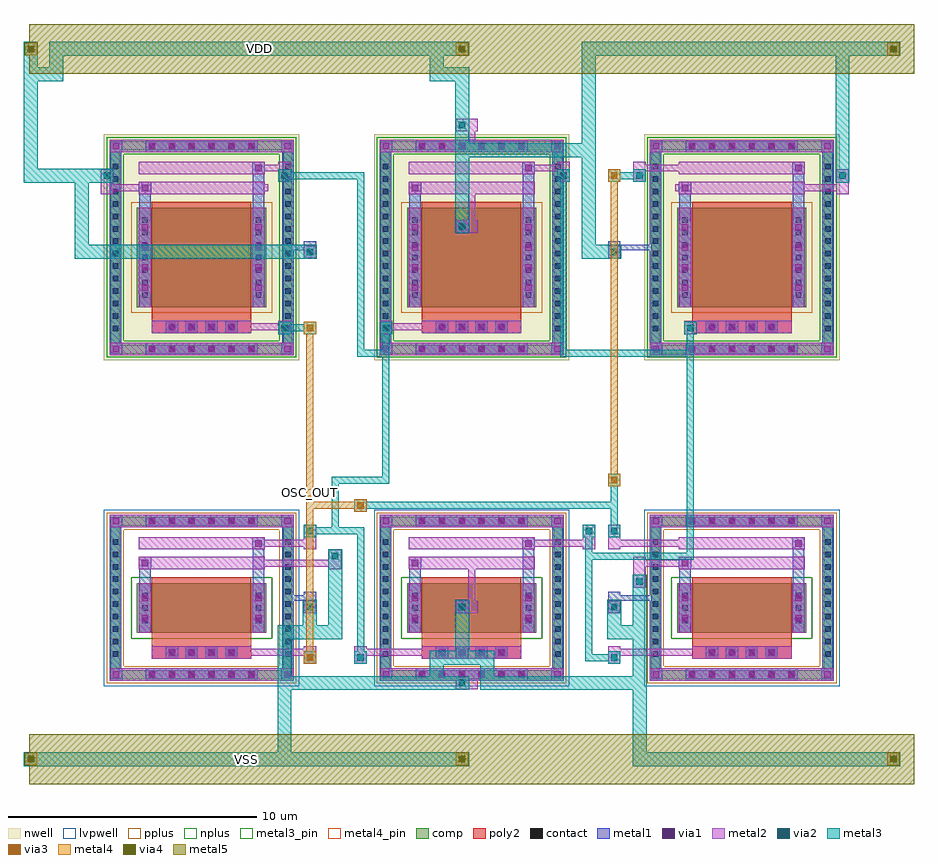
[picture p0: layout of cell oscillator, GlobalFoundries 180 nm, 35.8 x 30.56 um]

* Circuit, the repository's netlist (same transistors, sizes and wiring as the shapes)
.lib "/home/huda/.volare/gf180mcuD/libs.tech/ngspice/sm141064.ngspice" typical
.subckt oscillator VDD VSS OSC_OUT
XM1  n1 OSC_OUT VSS VSS nfet_03v3 L=4u W=2u nf=1
XM1P n1 OSC_OUT VDD VDD pfet_03v3 L=4u W=4u nf=1
XM2  n2 n1 VSS VSS nfet_03v3 L=4u W=2u nf=1
XM2P n2 n1 VDD VDD pfet_03v3 L=4u W=4u nf=1
XM3  OSC_OUT n2 VSS VSS nfet_03v3 L=4u W=2u nf=1
XM3P OSC_OUT n2 VDD VDD pfet_03v3 L=4u W=4u nf=1
.ends

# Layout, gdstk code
import gdstk
lib = gdstk.Library(unit=1e-6, precision=1e-09)
def R(c, l, rs):  # rectangles x0, y0, x1, y1
    for r in rs: c.add(gdstk.rectangle(r[:2], r[2:], *l))
def A(c, l, x, y, w, h, nx, ny, dx, dy):  # array of equal rectangles
    R(c, l, [(x+i*dx, y+j*dy, x+i*dx+w, y+j*dy+h) for i in range(nx) for j in range(ny)])
def P(c, l, *ps):  # polygons
    for p in ps: c.add(gdstk.Polygon(p, *l))
nwell = (21, 0)
comp = (22, 0)
poly2 = (30, 0)
pplus = (31, 0)
nplus = (32, 0)
contact = (33, 0)
metal1 = (34, 0)
via1 = (35, 0)
metal2 = (36, 0)
via2 = (38, 0)
via3 = (40, 0)
via4 = (41, 0)
metal3 = (42, 0)
metal3_pin = (42, 10)
metal4 = (46, 0)
metal4_pin = (46, 10)
metal5 = (81, 0)
lvpwell = (204, 0)

oscillator = lib.new_cell('oscillator')
A(oscillator, nwell, -14.79, 13.09, 7.86, 9.09, 3, 1, 10.86, 0)
A(oscillator, comp, -13.04, 0.28, 0.36, 0.36, 6, 2, 0.8, 6.17)
A(oscillator, comp, -13.04, 0.28, 4.36, 0.36, 3, 2, 10.86, 6.17)
A(oscillator, comp, -2.18, 0.28, 0.36, 0.36, 6, 2, 0.8, 6.17)
A(oscillator, comp, 8.68, 0.28, 0.36, 0.36, 6, 2, 0.8, 6.17)
A(oscillator, comp, -14.51, 1.115, 0.36, 0.36, 1, 10, 0, 0.5)
A(oscillator, comp, -7.57, 1.115, 0.36, 0.36, 1, 10, 0, 0.5)
A(oscillator, comp, -3.65, 1.115, 0.36, 0.36, 1, 10, 0, 0.5)
A(oscillator, comp, 3.29, 1.115, 0.36, 0.36, 1, 10, 0, 0.5)
A(oscillator, comp, 7.21, 1.115, 0.36, 0.36, 1, 10, 0, 0.5)
A(oscillator, comp, 14.15, 1.115, 0.36, 0.36, 1, 10, 0, 0.5)
A(oscillator, comp, -13.46, 2.14, 5.2, 2, 3, 1, 10.86, 0)
A(oscillator, comp, -13.04, 13.37, 0.36, 0.36, 6, 2, 0.8, 8.17)
A(oscillator, comp, -13.04, 13.37, 4.36, 0.36, 3, 2, 10.86, 8.17)
A(oscillator, comp, -2.18, 13.37, 0.36, 0.36, 6, 2, 0.8, 8.17)
A(oscillator, comp, 8.68, 13.37, 0.36, 0.36, 6, 2, 0.8, 8.17)
A(oscillator, comp, -14.51, 14.205, 0.36, 0.36, 1, 14, 0, 0.5)
A(oscillator, comp, -7.57, 14.205, 0.36, 0.36, 1, 14, 0, 0.5)
A(oscillator, comp, -3.65, 14.205, 0.36, 0.36, 1, 14, 0, 0.5)
A(oscillator, comp, 3.29, 14.205, 0.36, 0.36, 1, 14, 0, 0.5)
A(oscillator, comp, 7.21, 14.205, 0.36, 0.36, 1, 14, 0, 0.5)
A(oscillator, comp, 14.15, 14.205, 0.36, 0.36, 1, 14, 0, 0.5)
A(oscillator, comp, -13.46, 15.23, 5.2, 4, 3, 1, 10.86, 0)
R(oscillator, comp, [(-14.51,1.115,-14.15,5.975), (-7.57,1.115,-7.21,5.975), (-3.65,1.115,-3.29,5.975), (3.29,1.115,3.65,5.975), (7.21,1.115,7.57,5.975), (14.15,1.115,14.51,5.975), (-14.51,14.205,-14.15,21.065), (-7.57,14.205,-7.21,21.065), (-3.65,14.205,-3.29,21.065), (3.29,14.205,3.65,21.065), (7.21,14.205,7.57,21.065), (14.15,14.205,14.51,21.065)])
P(oscillator, comp, [(-7.21,6.81),(-14.51,6.81),(-14.51,0.64),(-14.15,0.64),(-14.15,6.45),(-7.57,6.45),(-7.57,0.64),(-14.15,0.64),(-14.51,0.64),(-14.51,0.28),(-7.21,0.28)],
  [(14.51,21.9),(7.21,21.9),(7.21,13.73),(7.57,13.73),(7.57,21.54),(14.15,21.54),(14.15,13.73),(7.57,13.73),(7.21,13.73),(7.21,13.37),(14.51,13.37)],
  [(14.51,6.81),(7.21,6.81),(7.21,0.64),(7.57,0.64),(7.57,6.45),(14.15,6.45),(14.15,0.64),(7.57,0.64),(7.21,0.64),(7.21,0.28),(14.51,0.28)],
  [(3.65,21.9),(-3.65,21.9),(-3.65,13.73),(-3.29,13.73),(-3.29,21.54),(3.29,21.54),(3.29,13.73),(-3.29,13.73),(-3.65,13.73),(-3.65,13.37),(3.65,13.37)],
  [(3.65,6.81),(-3.65,6.81),(-3.65,0.64),(-3.29,0.64),(-3.29,6.45),(3.29,6.45),(3.29,0.64),(-3.29,0.64),(-3.65,0.64),(-3.65,0.28),(3.65,0.28)],
  [(-7.21,21.9),(-14.51,21.9),(-14.51,13.73),(-14.15,13.73),(-14.15,21.54),(-7.57,21.54),(-7.57,13.73),(-14.15,13.73),(-14.51,13.73),(-14.51,13.37),(-7.21,13.37)])
A(oscillator, poly2, -12.86, 1.1, 4, 0.5, 3, 2, 10.86, 13.09)
A(oscillator, poly2, -12.24, 1.17, 0.36, 0.36, 4, 2, 0.8, 13.09)
A(oscillator, poly2, -1.38, 1.17, 0.36, 0.36, 4, 2, 0.8, 13.09)
A(oscillator, poly2, 9.48, 1.17, 0.36, 0.36, 4, 2, 0.8, 13.09)
A(oscillator, poly2, -12.86, 1.6, 4, 0.3, 3, 2, 10.86, 13.09)
A(oscillator, poly2, -12.86, 1.9, 4, 2.48, 3, 1, 10.86, 0)
A(oscillator, poly2, -12.86, 14.99, 4, 4.48, 3, 1, 10.86, 0)
A(oscillator, pplus, -13.69, 15, 5.66, 4.46, 3, 1, 10.86, 0)
P(oscillator, pplus, [(-7.05,6.97),(-14.67,6.97),(-14.67,0.8),(-13.99,0.8),(-13.99,6.29),(-7.73,6.29),(-7.73,0.8),(-13.99,0.8),(-14.67,0.8),(-14.67,0.12),(-7.05,0.12)],
  [(14.67,6.97),(7.05,6.97),(7.05,0.8),(7.73,0.8),(7.73,6.29),(13.99,6.29),(13.99,0.8),(7.73,0.8),(7.05,0.8),(7.05,0.12),(14.67,0.12)],
  [(3.81,6.97),(-3.81,6.97),(-3.81,0.8),(-3.13,0.8),(-3.13,6.29),(3.13,6.29),(3.13,0.8),(-3.13,0.8),(-3.81,0.8),(-3.81,0.12),(3.81,0.12)])
A(oscillator, nplus, -13.69, 1.91, 5.66, 2.46, 3, 1, 10.86, 0)
P(oscillator, nplus, [(14.67,22.06),(7.05,22.06),(7.05,13.89),(7.73,13.89),(7.73,21.38),(13.99,21.38),(13.99,13.89),(7.73,13.89),(7.05,13.89),(7.05,13.21),(14.67,13.21)],
  [(3.81,22.06),(-3.81,22.06),(-3.81,13.89),(-3.13,13.89),(-3.13,21.38),(3.13,21.38),(3.13,13.89),(-3.13,13.89),(-3.81,13.89),(-3.81,13.21),(3.81,13.21)],
  [(-7.05,22.06),(-14.67,22.06),(-14.67,13.89),(-13.99,13.89),(-13.99,21.38),(-7.73,21.38),(-7.73,13.89),(-13.99,13.89),(-14.67,13.89),(-14.67,13.21),(-7.05,13.21)])
A(oscillator, contact, -12.97, 0.35, 0.22, 0.22, 6, 2, 0.8, 6.17)
A(oscillator, contact, -2.11, 0.35, 0.22, 0.22, 6, 2, 0.8, 6.17)
A(oscillator, contact, 8.75, 0.35, 0.22, 0.22, 6, 2, 0.8, 6.17)
A(oscillator, contact, -14.44, 1.185, 0.22, 0.22, 1, 10, 0, 0.5)
A(oscillator, contact, -7.5, 1.185, 0.22, 0.22, 1, 10, 0, 0.5)
A(oscillator, contact, -3.58, 1.185, 0.22, 0.22, 1, 10, 0, 0.5)
A(oscillator, contact, 3.36, 1.185, 0.22, 0.22, 1, 10, 0, 0.5)
A(oscillator, contact, 7.28, 1.185, 0.22, 0.22, 1, 10, 0, 0.5)
A(oscillator, contact, 14.22, 1.185, 0.22, 0.22, 1, 10, 0, 0.5)
A(oscillator, contact, -12.17, 1.24, 0.22, 0.22, 4, 2, 0.8, 13.09)
A(oscillator, contact, -1.31, 1.24, 0.22, 0.22, 4, 2, 0.8, 13.09)
A(oscillator, contact, 9.55, 1.24, 0.22, 0.22, 4, 2, 0.8, 13.09)
A(oscillator, contact, -13.25, 2.53, 0.22, 0.22, 1, 3, 0, 0.5)
A(oscillator, contact, -8.69, 2.53, 0.22, 0.22, 1, 3, 0, 0.5)
A(oscillator, contact, -2.39, 2.53, 0.22, 0.22, 1, 3, 0, 0.5)
A(oscillator, contact, 2.17, 2.53, 0.22, 0.22, 1, 3, 0, 0.5)
A(oscillator, contact, 8.47, 2.53, 0.22, 0.22, 1, 3, 0, 0.5)
A(oscillator, contact, 13.03, 2.53, 0.22, 0.22, 1, 3, 0, 0.5)
A(oscillator, contact, -12.97, 13.44, 0.22, 0.22, 6, 2, 0.8, 8.17)
A(oscillator, contact, -2.11, 13.44, 0.22, 0.22, 6, 2, 0.8, 8.17)
A(oscillator, contact, 8.75, 13.44, 0.22, 0.22, 6, 2, 0.8, 8.17)
A(oscillator, contact, -14.44, 14.275, 0.22, 0.22, 1, 14, 0, 0.5)
A(oscillator, contact, -7.5, 14.275, 0.22, 0.22, 1, 14, 0, 0.5)
A(oscillator, contact, -3.58, 14.275, 0.22, 0.22, 1, 14, 0, 0.5)
A(oscillator, contact, 3.36, 14.275, 0.22, 0.22, 1, 14, 0, 0.5)
A(oscillator, contact, 7.28, 14.275, 0.22, 0.22, 1, 14, 0, 0.5)
A(oscillator, contact, 14.22, 14.275, 0.22, 0.22, 1, 14, 0, 0.5)
A(oscillator, contact, -13.25, 15.62, 0.22, 0.22, 1, 7, 0, 0.5)
A(oscillator, contact, -8.69, 15.62, 0.22, 0.22, 1, 7, 0, 0.5)
A(oscillator, contact, -2.39, 15.62, 0.22, 0.22, 1, 7, 0, 0.5)
A(oscillator, contact, 2.17, 15.62, 0.22, 0.22, 1, 7, 0, 0.5)
A(oscillator, contact, 8.47, 15.62, 0.22, 0.22, 1, 7, 0, 0.5)
A(oscillator, contact, 13.03, 15.62, 0.22, 0.22, 1, 7, 0, 0.5)
A(oscillator, metal1, -13.11, 0.21, 0.5, 0.5, 6, 2, 0.8, 6.17)
A(oscillator, metal1, -13.11, 0.21, 4.5, 0.5, 3, 2, 10.86, 6.17)
A(oscillator, metal1, -2.25, 0.21, 0.5, 0.5, 6, 2, 0.8, 6.17)
A(oscillator, metal1, 8.61, 0.21, 0.5, 0.5, 6, 2, 0.8, 6.17)
A(oscillator, metal1, -14.56, 1.065, 0.46, 0.46, 1, 10, 0, 0.5)
A(oscillator, metal1, -7.62, 1.065, 0.46, 0.46, 1, 10, 0, 0.5)
A(oscillator, metal1, -3.7, 1.065, 0.46, 0.46, 1, 10, 0, 0.5)
A(oscillator, metal1, 3.24, 1.065, 0.46, 0.46, 1, 10, 0, 0.5)
A(oscillator, metal1, 7.16, 1.065, 0.46, 0.46, 1, 10, 0, 0.5)
A(oscillator, metal1, 14.1, 1.065, 0.46, 0.46, 1, 10, 0, 0.5)
A(oscillator, metal1, -12.31, 1.1, 0.5, 0.5, 4, 2, 0.8, 13.09)
A(oscillator, metal1, -1.45, 1.1, 0.5, 0.5, 4, 2, 0.8, 13.09)
A(oscillator, metal1, 9.41, 1.1, 0.5, 0.5, 4, 2, 0.8, 13.09)
A(oscillator, metal1, -13.37, 2.41, 0.46, 0.46, 1, 3, 0, 0.5)
A(oscillator, metal1, -8.81, 2.41, 0.46, 0.46, 1, 3, 0, 0.5)
A(oscillator, metal1, -2.51, 2.41, 0.46, 0.46, 1, 3, 0, 0.5)
A(oscillator, metal1, 2.05, 2.41, 0.46, 0.46, 1, 3, 0, 0.5)
A(oscillator, metal1, 8.35, 2.41, 0.46, 0.46, 1, 3, 0, 0.5)
A(oscillator, metal1, 12.91, 2.41, 0.46, 0.46, 1, 3, 0, 0.5)
A(oscillator, metal1, -13.37, 4.14, 0.46, 1.05, 3, 2, 10.86, 15.09)
A(oscillator, metal1, -8.81, 4.14, 0.46, 1.85, 3, 2, 10.86, 15.09)
A(oscillator, metal1, -13.39, 4.69, 0.5, 0.5, 3, 2, 10.86, 15.09)
A(oscillator, metal1, -8.83, 5.49, 0.5, 0.5, 3, 2, 10.86, 15.09)
A(oscillator, metal1, -13.11, 13.3, 0.5, 0.5, 6, 2, 0.8, 8.17)
A(oscillator, metal1, -13.11, 13.3, 4.5, 0.5, 3, 2, 10.86, 8.17)
A(oscillator, metal1, -2.25, 13.3, 0.5, 0.5, 6, 2, 0.8, 8.17)
A(oscillator, metal1, 8.61, 13.3, 0.5, 0.5, 6, 2, 0.8, 8.17)
A(oscillator, metal1, -14.56, 14.155, 0.46, 0.46, 1, 14, 0, 0.5)
A(oscillator, metal1, -7.62, 14.155, 0.46, 0.46, 1, 14, 0, 0.5)
A(oscillator, metal1, -3.7, 14.155, 0.46, 0.46, 1, 14, 0, 0.5)
A(oscillator, metal1, 3.24, 14.155, 0.46, 0.46, 1, 14, 0, 0.5)
A(oscillator, metal1, 7.16, 14.155, 0.46, 0.46, 1, 14, 0, 0.5)
A(oscillator, metal1, 14.1, 14.155, 0.46, 0.46, 1, 14, 0, 0.5)
A(oscillator, metal1, -13.37, 15.5, 0.46, 0.46, 1, 7, 0, 0.5)
A(oscillator, metal1, -8.81, 15.5, 0.46, 0.46, 1, 7, 0, 0.5)
A(oscillator, metal1, -2.51, 15.5, 0.46, 0.46, 1, 7, 0, 0.5)
A(oscillator, metal1, 2.05, 15.5, 0.46, 0.46, 1, 7, 0, 0.5)
A(oscillator, metal1, 8.35, 15.5, 0.46, 0.46, 1, 7, 0, 0.5)
A(oscillator, metal1, 12.91, 15.5, 0.46, 0.46, 1, 7, 0, 0.5)
A(oscillator, metal1, -13.39, 15.78, 0.5, 0.5, 1, 4, 0, 0.8)
A(oscillator, metal1, -8.83, 15.78, 0.5, 0.5, 1, 4, 0, 0.8)
A(oscillator, metal1, -2.53, 15.78, 0.5, 0.5, 1, 4, 0, 0.8)
A(oscillator, metal1, 2.03, 15.78, 0.5, 0.5, 1, 4, 0, 0.8)
A(oscillator, metal1, 8.33, 15.78, 0.5, 0.5, 1, 4, 0, 0.8)
A(oscillator, metal1, 12.89, 15.78, 0.5, 0.5, 1, 4, 0, 0.8)
R(oscillator, metal1, [(-14.56,0.21,-14.06,0.71), (-14.56,0.21,-14.06,0.71), (-14.56,0.21,-14.1,0.64), (-7.66,0.21,-7.16,0.71), (-7.66,0.21,-7.16,0.71), (-7.62,0.21,-7.16,0.64), (-3.7,0.21,-3.2,0.71), (-3.7,0.21,-3.2,0.71), (-3.7,0.21,-3.24,0.64), (3.2,0.21,3.7,0.71), (3.2,0.21,3.7,0.71), (3.24,0.21,3.7,0.64), (7.16,0.21,7.66,0.71), (7.16,0.21,7.66,0.71), (7.16,0.21,7.62,0.64), (14.06,0.21,14.56,0.71), (14.06,0.21,14.56,0.71), (14.1,0.21,14.56,0.64), (-14.56,0.64,-14.1,6.45), (-7.62,0.64,-7.16,6.45), (-3.7,0.64,-3.24,6.45), (3.24,0.64,3.7,6.45), (7.16,0.64,7.62,6.45), (14.1,0.64,14.56,6.45), (-13.37,2.14,-12.91,4.14), (-8.81,2.14,-8.35,4.14), (-2.51,2.14,-2.05,4.14), (2.05,2.14,2.51,4.14), (8.35,2.14,8.81,4.14), (12.91,2.14,13.37,4.14), (-13.39,2.49,-12.89,2.99), (-13.39,2.49,-12.89,3.79), (-8.83,2.49,-8.33,2.99), (-8.83,2.49,-8.33,3.79), (-2.53,2.49,-2.03,2.99), (-2.53,2.49,-2.03,3.79), (2.03,2.49,2.53,2.99), (2.03,2.49,2.53,3.79), (8.33,2.49,8.83,2.99), (8.33,2.49,8.83,3.79), (12.89,2.49,13.39,2.99), (12.89,2.49,13.39,3.79), (-6.76,2.93,-6.26,3.79), (-6.76,2.93,-6.26,3.43), (5.48,2.93,5.98,3.79), (5.48,2.93,5.98,3.43), (-13.39,3.29,-12.89,3.79), (-8.83,3.29,-8.33,3.79), (-2.53,3.29,-2.03,3.79), (2.03,3.29,2.53,3.79), (8.33,3.29,8.83,3.79), (12.89,3.29,13.39,3.79), (-7.275,3.425,-6.395,3.655), (5.615,3.425,7.275,3.655), (-14.56,6.38,-14.06,6.88), (-14.56,6.38,-14.06,6.88), (-7.66,6.38,-7.16,6.88), (-7.66,6.38,-7.16,6.88), (-3.7,6.38,-3.2,6.88), (-3.7,6.38,-3.2,6.88), (3.2,6.38,3.7,6.88), (3.2,6.38,3.7,6.88), (7.16,6.38,7.66,6.88), (7.16,6.38,7.66,6.88), (14.06,6.38,14.56,6.88), (14.06,6.38,14.56,6.88), (-14.56,6.45,-14.1,6.88), (-7.62,6.45,-7.16,6.88), (-3.7,6.45,-3.24,6.88), (3.24,6.45,3.7,6.88), (7.16,6.45,7.62,6.88), (14.1,6.45,14.56,6.88), (-14.56,13.3,-14.06,13.8), (-14.56,13.3,-14.06,13.8), (-14.56,13.3,-14.1,13.73), (-7.66,13.3,-7.16,13.8), (-7.66,13.3,-7.16,13.8), (-7.62,13.3,-7.16,13.73), (-3.7,13.3,-3.2,13.8), (-3.7,13.3,-3.2,13.8), (-3.7,13.3,-3.24,13.73), (3.2,13.3,3.7,13.8), (3.2,13.3,3.7,13.8), (3.24,13.3,3.7,13.73), (7.16,13.3,7.66,13.8), (7.16,13.3,7.66,13.8), (7.16,13.3,7.62,13.73), (14.06,13.3,14.56,13.8), (14.06,13.3,14.56,13.8), (14.1,13.3,14.56,13.73), (-14.56,13.73,-14.1,21.54), (-7.62,13.73,-7.16,21.54), (-3.7,13.73,-3.24,21.54), (3.24,13.73,3.7,21.54), (7.16,13.73,7.62,21.54), (14.1,13.73,14.56,21.54), (-13.37,15.23,-12.91,19.23), (-8.81,15.23,-8.35,19.23), (-2.51,15.23,-2.05,19.23), (2.05,15.23,2.51,19.23), (8.35,15.23,8.81,19.23), (12.91,15.23,13.37,19.23), (-13.39,15.78,-12.89,18.68), (-8.83,15.78,-8.33,18.68), (-2.53,15.78,-2.03,18.68), (2.03,15.78,2.53,18.68), (8.33,15.78,8.83,18.68), (12.89,15.78,13.39,18.68), (-6.76,17.21,-6.26,17.88), (-6.76,17.21,-6.26,17.71), (5.48,17.21,5.98,17.88), (5.48,17.21,5.98,17.71), (-7.275,17.515,-6.395,17.745), (5.615,17.515,7.275,17.745), (-14.56,21.47,-14.06,21.97), (-14.56,21.47,-14.06,21.97), (-7.66,21.47,-7.16,21.97), (-7.66,21.47,-7.16,21.97), (-3.7,21.47,-3.2,21.97), (-3.7,21.47,-3.2,21.97), (3.2,21.47,3.7,21.97), (3.2,21.47,3.7,21.97), (7.16,21.47,7.66,21.97), (7.16,21.47,7.66,21.97), (14.06,21.47,14.56,21.97), (14.06,21.47,14.56,21.97), (-14.56,21.54,-14.1,21.97), (-7.62,21.54,-7.16,21.97), (-3.7,21.54,-3.24,21.97), (3.24,21.54,3.7,21.97), (7.16,21.54,7.62,21.97), (14.1,21.54,14.56,21.97)])
A(oscillator, via1, -12.99, 0.33, 0.26, 0.26, 6, 2, 0.8, 6.17)
A(oscillator, via1, -2.13, 0.33, 0.26, 0.26, 6, 2, 0.8, 6.17)
A(oscillator, via1, 8.73, 0.33, 0.26, 0.26, 6, 2, 0.8, 6.17)
A(oscillator, via1, -12.19, 1.22, 0.26, 0.26, 4, 2, 0.8, 13.09)
A(oscillator, via1, -1.33, 1.22, 0.26, 0.26, 4, 2, 0.8, 13.09)
A(oscillator, via1, 9.53, 1.22, 0.26, 0.26, 4, 2, 0.8, 13.09)
A(oscillator, via1, -13.27, 4.81, 0.26, 0.26, 3, 2, 10.86, 15.09)
A(oscillator, via1, -8.71, 5.61, 0.26, 0.26, 3, 2, 10.86, 15.09)
A(oscillator, via1, -12.99, 13.42, 0.26, 0.26, 6, 2, 0.8, 8.17)
A(oscillator, via1, -2.13, 13.42, 0.26, 0.26, 6, 2, 0.8, 8.17)
A(oscillator, via1, 8.73, 13.42, 0.26, 0.26, 6, 2, 0.8, 8.17)
A(oscillator, via1, -13.27, 15.9, 0.26, 0.26, 1, 4, 0, 0.8)
A(oscillator, via1, -8.71, 15.9, 0.26, 0.26, 1, 4, 0, 0.8)
A(oscillator, via1, -2.41, 15.9, 0.26, 0.26, 1, 4, 0, 0.8)
A(oscillator, via1, 2.15, 15.9, 0.26, 0.26, 1, 4, 0, 0.8)
A(oscillator, via1, 8.45, 15.9, 0.26, 0.26, 1, 4, 0, 0.8)
A(oscillator, via1, 13.01, 15.9, 0.26, 0.26, 1, 4, 0, 0.8)
R(oscillator, via1, [(-14.44,0.33,-14.18,0.59), (-7.54,0.33,-7.28,0.59), (-3.58,0.33,-3.32,0.59), (3.32,0.33,3.58,0.59), (7.28,0.33,7.54,0.59), (14.18,0.33,14.44,0.59), (-13.27,2.61,-13.01,2.87), (-8.71,2.61,-8.45,2.87), (-2.41,2.61,-2.15,2.87), (2.15,2.61,2.41,2.87), (8.45,2.61,8.71,2.87), (13.01,2.61,13.27,2.87), (-6.64,3.05,-6.38,3.31), (5.6,3.05,5.86,3.31), (-13.27,3.41,-13.01,3.67), (-8.71,3.41,-8.45,3.67), (-2.41,3.41,-2.15,3.67), (2.15,3.41,2.41,3.67), (8.45,3.41,8.71,3.67), (13.01,3.41,13.27,3.67), (-14.44,6.5,-14.18,6.76), (-7.54,6.5,-7.28,6.76), (-3.58,6.5,-3.32,6.76), (3.32,6.5,3.58,6.76), (7.28,6.5,7.54,6.76), (14.18,6.5,14.44,6.76), (-14.44,13.42,-14.18,13.68), (-7.54,13.42,-7.28,13.68), (-3.58,13.42,-3.32,13.68), (3.32,13.42,3.58,13.68), (7.28,13.42,7.54,13.68), (14.18,13.42,14.44,13.68), (-6.64,17.33,-6.38,17.59), (5.6,17.33,5.86,17.59), (-14.44,21.59,-14.18,21.85), (-7.54,21.59,-7.28,21.85), (-3.58,21.59,-3.32,21.85), (3.32,21.59,3.58,21.85), (7.28,21.59,7.54,21.85), (14.18,21.59,14.44,21.85)])
A(oscillator, metal2, -14.15, 0.21, 6.58, 0.5, 3, 2, 10.86, 6.17)
A(oscillator, metal2, -13.11, 0.21, 0.5, 0.5, 6, 2, 0.8, 6.17)
A(oscillator, metal2, -2.25, 0.21, 0.5, 0.5, 6, 2, 0.8, 6.17)
A(oscillator, metal2, 8.61, 0.21, 0.5, 0.5, 6, 2, 0.8, 6.17)
A(oscillator, metal2, -12.86, 1.1, 4, 0.5, 3, 2, 10.86, 13.09)
A(oscillator, metal2, -12.31, 1.1, 0.5, 0.5, 4, 2, 0.8, 13.09)
A(oscillator, metal2, -1.45, 1.1, 0.5, 0.5, 4, 2, 0.8, 13.09)
A(oscillator, metal2, 9.41, 1.1, 0.5, 0.5, 4, 2, 0.8, 13.09)
A(oscillator, metal2, -6.76, 2.93, 0.5, 0.5, 3, 1, 6.12, 0)
A(oscillator, metal2, -13.39, 4.69, 0.5, 0.5, 3, 2, 10.86, 15.09)
A(oscillator, metal2, -13.39, 4.69, 5.06, 0.5, 3, 2, 10.86, 0.8)
A(oscillator, metal2, -8.83, 5.49, 0.5, 0.5, 3, 2, 10.86, 15.09)
A(oscillator, metal2, -14.15, 13.3, 6.58, 0.5, 3, 2, 10.86, 8.17)
A(oscillator, metal2, -13.11, 13.3, 0.5, 0.5, 6, 2, 0.8, 8.17)
A(oscillator, metal2, -2.25, 13.3, 0.5, 0.5, 6, 2, 0.8, 8.17)
A(oscillator, metal2, 8.61, 13.3, 0.5, 0.5, 6, 2, 0.8, 8.17)
A(oscillator, metal2, -13.39, 15.78, 0.5, 0.5, 1, 4, 0, 0.8)
A(oscillator, metal2, -8.83, 15.78, 0.5, 0.5, 1, 4, 0, 0.8)
A(oscillator, metal2, -2.53, 15.78, 0.5, 0.5, 1, 4, 0, 0.8)
A(oscillator, metal2, 2.03, 15.78, 0.5, 0.5, 1, 4, 0, 0.8)
A(oscillator, metal2, 8.33, 15.78, 0.5, 0.5, 1, 4, 0, 0.8)
A(oscillator, metal2, 12.89, 15.78, 0.5, 0.5, 1, 4, 0, 0.8)
A(oscillator, metal2, -13.39, 19.78, 5.06, 0.5, 3, 2, 10.86, 0.8)
R(oscillator, metal2, [(-0.64,-0.13,0.25,0.37), (-0.64,-0.13,-0.14,0.37), (-0.14,-0.02,0.14,0.35), (-14.56,0.21,-14.06,0.71), (-14.56,0.21,-14.06,0.71), (-14.56,0.21,-14.15,0.71), (-7.66,0.21,-7.16,0.71), (-7.66,0.21,-7.16,0.71), (-7.57,0.21,-7.16,0.71), (-3.7,0.21,-3.2,0.71), (-3.7,0.21,-3.2,0.71), (-3.7,0.21,-3.29,0.71), (-0.15,0.21,-0.14,0.35), (0.14,0.21,0.15,0.35), (3.2,0.21,3.7,0.71), (3.2,0.21,3.7,0.71), (3.29,0.21,3.7,0.71), (7.16,0.21,7.66,0.71), (7.16,0.21,7.66,0.71), (7.16,0.21,7.57,0.71), (14.06,0.21,14.56,0.71), (14.06,0.21,14.56,0.71), (14.15,0.21,14.56,0.71), (-6.76,0.89,-6.26,1.6), (-6.76,0.89,-6.26,1.39), (-4.72,0.89,-4.22,1.6), (-4.72,0.89,-4.22,1.39), (5.48,0.89,5.98,1.6), (5.48,0.89,5.98,1.39), (-9,1.21,-6.37,1.49), (-4.61,1.21,-1.86,1.49), (5.59,1.21,9,1.49), (-13.39,2.14,-12.89,4.14), (-8.83,2.14,-8.33,4.14), (-2.53,2.14,-2.03,4.14), (2.03,2.14,2.53,4.14), (8.33,2.14,8.83,4.14), (12.89,2.14,13.39,4.14), (-13.39,2.49,-12.89,2.99), (-8.83,2.49,-8.33,2.99), (-2.53,2.49,-2.03,2.99), (2.03,2.49,2.53,2.99), (8.33,2.49,8.83,2.99), (12.89,2.49,13.39,2.99), (-0.64,2.93,0.25,3.43), (-0.14,3.04,0.14,4.83), (-13.39,3.29,-12.89,3.79), (-8.83,3.29,-8.33,3.79), (-2.53,3.29,-2.03,3.79), (2.03,3.29,2.53,3.79), (8.33,3.29,8.83,3.79), (12.89,3.29,13.39,3.79), (6.5,3.95,7,5.19), (6.5,3.95,7,4.45), (-5.74,4.69,-5.24,5.47), (-8.47,4.8,-5.35,5.08), (6.61,4.8,8.47,5.08), (-5.74,4.97,-5.24,5.47), (-6.76,5.49,-6.26,6.49), (4.46,5.49,4.96,6.49), (5.48,5.49,5.98,6.49), (-8.47,5.6,-6.37,5.88), (2.39,5.6,4.85,5.88), (5.59,5.6,8.47,5.88), (-6.76,5.99,-6.26,6.49), (4.46,5.99,4.96,6.49), (5.48,5.99,5.98,6.49), (-14.56,6.38,-14.06,6.88), (-14.56,6.38,-14.06,6.88), (-14.56,6.38,-14.15,6.88), (-7.66,6.38,-7.16,6.88), (-7.66,6.38,-7.16,6.88), (-7.57,6.38,-7.16,6.88), (-3.7,6.38,-3.2,6.88), (-3.7,6.38,-3.2,6.88), (-3.7,6.38,-3.29,6.88), (3.2,6.38,3.7,6.88), (3.2,6.38,3.7,6.88), (3.29,6.38,3.7,6.88), (7.16,6.38,7.66,6.88), (7.16,6.38,7.66,6.88), (7.16,6.38,7.57,6.88), (14.06,6.38,14.56,6.88), (14.06,6.38,14.56,6.88), (14.15,6.38,14.56,6.88), (-14.56,13.3,-14.06,13.8), (-14.56,13.3,-14.06,13.8), (-14.56,13.3,-14.15,13.8), (-7.66,13.3,-7.16,13.8), (-7.66,13.3,-7.16,13.8), (-7.57,13.3,-7.16,13.8), (-3.7,13.3,-3.2,13.8), (-3.7,13.3,-3.2,13.8), (-3.7,13.3,-3.29,13.8), (3.2,13.3,3.7,13.8), (3.2,13.3,3.7,13.8), (3.29,13.3,3.7,13.8), (7.16,13.3,7.66,13.8), (7.16,13.3,7.66,13.8), (7.16,13.3,7.57,13.8), (14.06,13.3,14.56,13.8), (14.06,13.3,14.56,13.8), (14.15,13.3,14.56,13.8), (-7.78,14.15,-7.28,14.69), (-7.78,14.15,-7.28,14.65), (-3.7,14.15,-3.2,14.69), (-3.7,14.15,-3.2,14.65), (8.54,14.15,9.04,14.69), (8.54,14.15,9.04,14.65), (-9,14.3,-7.39,14.58), (-3.59,14.3,-1.86,14.58), (8.65,14.3,9,14.58), (-13.39,15.23,-12.89,19.23), (-8.83,15.23,-8.33,19.23), (-2.53,15.23,-2.03,19.23), (2.03,15.23,2.53,19.23), (8.33,15.23,8.83,19.23), (12.89,15.23,13.39,19.23), (-6.76,17.21,-6.26,17.71), (5.48,17.21,5.98,17.71), (-0.64,18.23,0.25,18.73), (-0.64,18.23,-0.14,18.73), (-0.14,18.34,0.14,19.92), (-14.92,19.78,-14.42,20.77), (14.66,19.78,15.16,20.77), (-14.81,19.89,-8.19,20.17), (8.19,19.89,15.05,20.17), (-14.92,20.27,-14.42,20.77), (-7.78,20.27,-7.28,21.08), (-7.78,20.27,-7.28,20.77), (3.44,20.27,3.94,21.08), (3.44,20.27,3.94,20.77), (6.5,20.27,7,21.08), (6.5,20.27,7,20.77), (14.66,20.27,15.16,20.77), (-8.47,20.69,-7.39,20.97), (2.39,20.69,3.83,20.97), (6.61,20.69,8.47,20.97), (-14.56,21.47,-14.06,21.97), (-14.56,21.47,-14.06,21.97), (-14.56,21.47,-14.15,21.97), (-7.66,21.47,-7.16,21.97), (-7.66,21.47,-7.16,21.97), (-7.57,21.47,-7.16,21.97), (-3.7,21.47,-3.2,21.97), (-3.7,21.47,-3.2,21.97), (-3.7,21.47,-3.29,21.97), (3.2,21.47,3.7,21.97), (3.2,21.47,3.7,21.97), (3.29,21.47,3.7,21.97), (7.16,21.47,7.66,21.97), (7.16,21.47,7.66,21.97), (7.16,21.47,7.57,21.97), (14.06,21.47,14.56,21.97), (14.06,21.47,14.56,21.97), (14.15,21.47,14.56,21.97), (-0.15,21.83,-0.14,21.97), (-0.14,21.83,0.14,22.7), (0.14,21.83,0.15,21.97), (-0.64,22.31,0.25,22.81), (-0.64,22.31,-0.14,22.81)])
A(oscillator, via2, -6.64, 3.05, 0.26, 0.26, 3, 1, 6.12, 0)
R(oscillator, via2, [(-0.52,-0.01,-0.26,0.25), (-6.64,1.01,-6.38,1.27), (-4.6,1.01,-4.34,1.27), (5.6,1.01,5.86,1.27), (6.62,4.07,6.88,4.33), (-5.62,5.09,-5.36,5.35), (-6.64,6.11,-6.38,6.37), (4.58,6.11,4.84,6.37), (5.6,6.11,5.86,6.37), (-7.66,14.27,-7.4,14.53), (-3.58,14.27,-3.32,14.53), (8.66,14.27,8.92,14.53), (-6.64,17.33,-6.38,17.59), (5.6,17.33,5.86,17.59), (-0.52,18.35,-0.26,18.61), (-14.8,20.39,-14.54,20.65), (-7.66,20.39,-7.4,20.65), (3.56,20.39,3.82,20.65), (6.62,20.39,6.88,20.65), (14.78,20.39,15.04,20.65), (-0.52,22.43,-0.26,22.69)])
A(oscillator, via3, -17.86, -3.07, 0.26, 0.26, 3, 2, 17.34, 28.56)
R(oscillator, via3, [(-6.64,1.01,-6.38,1.27), (-4.6,7.13,-4.34,7.39), (5.6,8.15,5.86,8.41), (-6.64,14.27,-6.38,14.53), (5.6,20.39,5.86,20.65)])
A(oscillator, via4, -17.86, -3.07, 0.26, 0.26, 3, 2, 17.34, 28.56)
A(oscillator, metal3, -17.98, -3.19, 0.5, 0.5, 3, 2, 17.34, 28.56)
A(oscillator, metal3, -6.76, 2.93, 0.5, 0.5, 3, 1, 6.12, 0)
R(oscillator, metal3, [(-18.01,-3.22,-0.11,-2.66), (-7.81,-3.22,-7.25,2.44), (6.47,-3.22,7.03,0.4), (6.47,-3.22,17.23,-2.66), (-7.81,-0.16,-0.11,0.4), (-1.69,-0.16,-1.13,1.42), (0.35,-0.16,0.91,1.42), (0.35,-0.16,7.03,0.4), (6.47,-0.16,7.03,2.44), (-0.64,-0.13,-0.14,0.37), (-1.69,0.86,-0.11,1.42), (-0.67,0.86,0.91,1.42), (-0.67,0.86,-0.11,3.46), (-6.76,0.89,-6.26,1.39), (-6.76,0.89,-6.26,1.39), (-4.72,0.89,-4.22,1.39), (5.48,0.89,5.98,1.39), (-4.61,1,-4.33,6.38), (4.57,1,5.87,1.28), (4.57,1,4.85,6.38), (-7.81,1.88,-6.23,2.44), (-6.79,1.88,-6.23,3.46), (-6.79,1.88,-5.21,2.44), (-5.77,1.88,-5.21,5.5), (5.45,1.88,6.01,3.46), (5.45,1.88,7.03,2.44), (6.47,1.88,7.03,4.48), (6.5,3.95,7,4.45), (-5.74,4.97,-5.24,5.47), (4.57,5.08,8.93,5.36), (8.65,5.08,8.93,14.54), (-6.76,5.99,-6.26,6.49), (4.46,5.99,4.96,6.49), (5.48,5.99,5.98,6.49), (-6.65,6.1,-4.33,6.38), (-5.63,6.1,-5.35,8.42), (5.59,6.1,5.87,7.4), (-4.72,7.01,-4.22,7.51), (-4.61,7.12,5.87,7.4), (5.59,7.12,5.87,8.42), (5.48,8.03,5.98,8.53), (-5.63,8.14,-3.31,8.42), (-3.59,8.14,-3.31,14.54), (-4.61,13.24,-3.31,13.52), (-4.61,13.24,-4.33,20.66), (3.55,13.24,3.83,20.66), (3.55,13.24,8.93,13.52), (-7.78,14.15,-7.28,14.65), (-6.76,14.15,-6.26,14.65), (-3.7,14.15,-3.2,14.65), (8.54,14.15,9.04,14.65), (-7.67,14.26,-6.37,14.54), (-15.97,17.18,-6.23,17.74), (-15.97,17.18,-15.41,20.8), (4.43,17.18,6.01,17.74), (4.43,17.18,4.99,21.82), (-6.76,17.21,-6.26,17.71), (5.48,17.21,5.98,17.71), (-0.67,18.2,-0.11,22.84), (-0.64,18.23,-0.14,18.73), (-18.01,20.24,-14.39,20.8), (-18.01,20.24,-17.45,25.9), (14.63,20.24,15.19,25.9), (-14.92,20.27,-14.42,20.77), (-7.78,20.27,-7.28,20.77), (3.44,20.27,3.94,20.77), (5.48,20.27,5.98,20.77), (6.5,20.27,7,20.77), (14.66,20.27,15.16,20.77), (-7.67,20.38,-4.33,20.66), (5.59,20.38,6.89,20.66), (-0.67,21.26,4.99,21.82), (4.43,21.26,4.99,25.9), (-0.67,22.28,-0.11,24.88), (-0.64,22.31,-0.14,22.81), (-18.01,24.32,-16.43,24.88), (-16.99,24.32,-16.43,25.9), (-1.69,24.32,-1.13,25.9), (-1.69,24.32,-0.11,24.88), (-16.99,25.34,-0.11,25.9), (4.43,25.34,17.23,25.9)])
R(oscillator, metal3_pin, [(-9.34,-3.22,-8.78,-2.66), (-8.83,25.34,-8.27,25.9)])
A(oscillator, metal4, -17.98, -3.19, 0.5, 0.5, 3, 2, 17.34, 28.56)
R(oscillator, metal4, [(-6.76,0.89,-6.26,1.39), (-6.65,1,-6.37,14.54), (-4.72,7.01,-4.22,7.51), (-6.65,7.12,-4.33,7.4), (5.48,8.03,5.98,8.53), (5.59,8.14,5.87,20.66), (-6.76,14.15,-6.26,14.65), (5.48,20.27,5.98,20.77)])
R(oscillator, metal4_pin, [(-6.65,7.63,-6.37,7.91)])
A(oscillator, metal5, -17.98, -3.19, 0.5, 0.5, 3, 2, 17.34, 28.56)
R(oscillator, metal5, [(-17.79,-3.94,17.79,-1.94), (-17.79,24.62,17.79,26.62)])
A(oscillator, lvpwell, -14.79, 0, 7.86, 7.09, 3, 1, 10.86, 0)
oscillator.add(gdstk.Label('OSC_OUT', (-6.51,7.77), layer=46, texttype=10))
oscillator.add(gdstk.Label('VSS', (-9.06,-2.94), layer=42, texttype=10))
oscillator.add(gdstk.Label('VDD', (-8.55,25.62), layer=42, texttype=10))

lib.write_gds('oscillator.gds')
